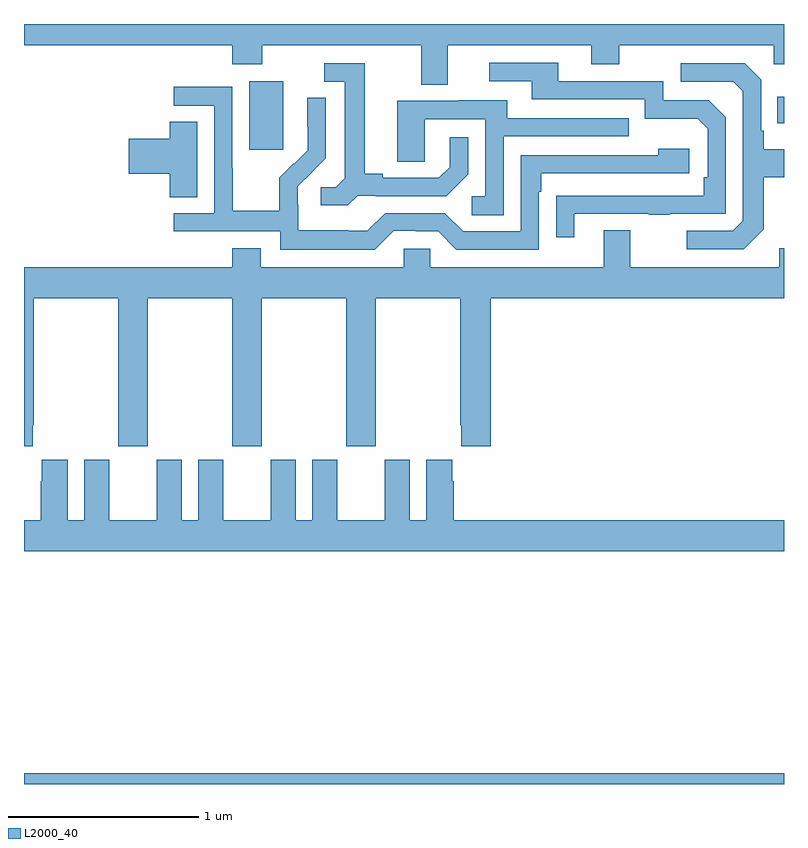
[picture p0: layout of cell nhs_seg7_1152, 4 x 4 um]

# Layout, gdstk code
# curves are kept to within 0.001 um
import gdstk
lib = gdstk.Library(unit=1e-6, precision=1e-09)
def R(c, l, rs):  # rectangles x0, y0, x1, y1
    for r in rs: c.add(gdstk.rectangle(r[:2], r[2:], *l))
def P(c, l, *ps):  # polygons
    for p in ps: c.add(gdstk.Polygon(p, *l))
L2000_40 = (2000, 40)

nhs_seg7_1152 = lib.new_cell('nhs_seg7_1152')
R(nhs_seg7_1152, L2000_40, [(191,1058,195,1058.056), (192.185,1061.337,192.364,1061.698), (194.965,1061.477,195,1061.617)])
P(nhs_seg7_1152, L2000_40, [(193.231,1061.888),(193.985,1061.888),(193.985,1061.789),(194.133,1061.789),(194.133,1061.888),(194.946,1061.888),(194.946,1061.789),(195,1061.789),(195,1062),(191,1062),(191,1061.888),(192.095,1061.888),(192.095,1061.789),(192.255,1061.789),(192.255,1061.888),(193.091,1061.888),(193.091,1061.68),(193.231,1061.68)],
  [(193.897,1061.001),(194.287,1061.001),(194.287,1060.996),(194.399,1060.996),(194.399,1061.001),(194.694,1061.001),(194.694,1061.508),(194.604,1061.598),(194.364,1061.598),(194.364,1061.7),(193.813,1061.7),(193.813,1061.796),(193.449,1061.796),(193.449,1061.7),(193.673,1061.7),(193.673,1061.604),(194.268,1061.604),(194.268,1061.501),(194.545,1061.501),(194.598,1061.448),(194.598,1061.194),(194.578,1061.194),(194.578,1061.097),(193.801,1061.096),(193.801,1060.878),(193.897,1060.878)],
  [(192.756,1061.097),(192.85,1061.097),(192.85,1061.094),(193.222,1061.094),(193.338,1061.21),(193.338,1061.404),(193.241,1061.404),(193.241,1061.247),(193.184,1061.19),(192.889,1061.19),(192.889,1061.213),(192.793,1061.213),(192.793,1061.793),(192.579,1061.793),(192.579,1061.697),(192.689,1061.697),(192.689,1061.189),(192.642,1061.142),(192.561,1061.142),(192.561,1061.045),(192.704,1061.045)],
  [(194.893,1060.921),(194.893,1061.194),(195,1061.194),(195,1061.341),(194.893,1061.341),(194.893,1061.437),(194.88,1061.437),(194.88,1061.706),(194.793,1061.793),(194.457,1061.793),(194.457,1061.697),(194.733,1061.697),(194.784,1061.646),(194.784,1060.965),(194.73,1060.911),(194.487,1060.911),(194.487,1060.815),(194.787,1060.815)],
  [(192.945,1060.911),(193.061,1060.911),(193.061,1060.908),(193.179,1060.908),(193.275,1060.812),(193.71,1060.812),(193.71,1061.117),(193.723,1061.117),(193.723,1061.214),(194.5,1061.214),(194.5,1061.344),(194.339,1061.344),(194.339,1061.31),(193.614,1061.31),(193.614,1060.908),(193.311,1060.908),(193.215,1061.004),(192.9,1061.004),(192.807,1060.911),(192.707,1060.911),(192.707,1060.915),(192.444,1060.915),(192.444,1061.049),(192.442,1061.049),(192.442,1061.146),(192.588,1061.294),(192.588,1061.612),(192.492,1061.612),(192.492,1061.458),(192.494,1061.458),(192.494,1061.336),(192.423,1061.265),(192.42,1061.268),(192.343,1061.191),(192.343,1061.017),(192.099,1061.017),(192.099,1061.24),(192.096,1061.24),(192.096,1061.67),(191.787,1061.67),(191.787,1061.571),(192,1061.571),(192,1061.004),(191.787,1061.004),(191.787,1060.908),(192.348,1060.908),(192.348,1060.811),(192.845,1060.811)],
  [(193.524,1061.409),(194.183,1061.409),(194.183,1061.505),(193.543,1061.505),(193.543,1061.599),(193.289,1061.599),(193.289,1061.595),(192.965,1061.595),(192.965,1061.275),(193.11,1061.275),(193.11,1061.499),(193.428,1061.499),(193.428,1061.094),(193.356,1061.094),(193.356,1060.993),(193.524,1060.993)],
  [(191.911,1061.486),(191.768,1061.486),(191.768,1061.396),(191.55,1061.396),(191.55,1061.213),(191.768,1061.213),(191.768,1061.089),(191.911,1061.089)],
  [(192.095,1060.72),(191,1060.72),(191,1059.777),(191.047,1059.777),(191.047,1059.889),(191.052,1059.889),(191.052,1060.556),(191.497,1060.556),(191.497,1059.777),(191.652,1059.777),(191.652,1060.556),(192.097,1060.556),(192.097,1059.777),(192.252,1059.777),(192.252,1060.556),(192.697,1060.556),(192.697,1059.777),(192.852,1059.777),(192.852,1060.556),(193.297,1060.556),(193.297,1059.889),(193.301,1059.889),(193.301,1059.777),(193.457,1059.777),(193.457,1060.556),(195,1060.556),(195,1060.819),(194.975,1060.819),(194.975,1060.72),(194.191,1060.72),(194.191,1060.915),(194.051,1060.915),(194.051,1060.72),(193.137,1060.72),(193.137,1060.818),(192.999,1060.818),(192.999,1060.72),(192.247,1060.72),(192.247,1060.819),(192.095,1060.819)],
  [(195,1059.388),(193.262,1059.388),(193.262,1059.593),(193.255,1059.593),(193.255,1059.706),(193.118,1059.706),(193.118,1059.388),(193.03,1059.388),(193.03,1059.706),(192.899,1059.706),(192.899,1059.388),(192.649,1059.388),(192.649,1059.706),(192.518,1059.706),(192.518,1059.388),(192.43,1059.388),(192.43,1059.706),(192.299,1059.706),(192.299,1059.388),(192.049,1059.388),(192.049,1059.706),(191.918,1059.706),(191.918,1059.388),(191.83,1059.388),(191.83,1059.706),(191.699,1059.706),(191.699,1059.388),(191.449,1059.388),(191.449,1059.706),(191.318,1059.706),(191.318,1059.388),(191.23,1059.388),(191.23,1059.706),(191.093,1059.706),(191.093,1059.593),(191.087,1059.593),(191.087,1059.388),(191,1059.388),(191,1059.224),(195,1059.224)])

lib.write_gds('nhs_seg7_1152.gds')
